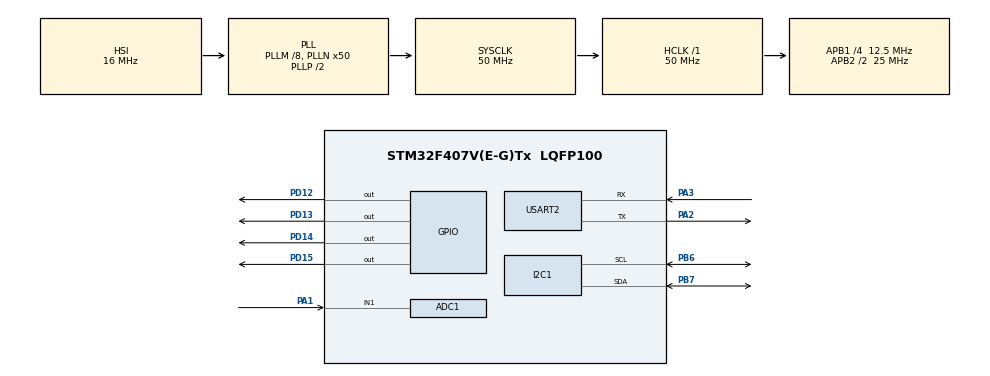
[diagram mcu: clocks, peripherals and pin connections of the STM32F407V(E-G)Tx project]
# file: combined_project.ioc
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ADC1.Channel-0\#ChannelRegularConversion=ADC_CHANNEL_1
ADC1.NbrOfConversionFlag=1
ADC1.Rank-0\#ChannelRegularConversion=1
ADC1.SamplingTime-0\#ChannelRegularConversion=ADC_SAMPLETIME_3CYCLES
ADC1.master=1
FREERTOS.INCLUDE_vTaskDelayUntil=1
FREERTOS.Tasks01=defaultTask,-3,128,StartDefaultTask,Default,NULL,Dynamic,NULL,NULL
FREERTOS.configUSE_NEWLIB_REENTRANT=1
Mcu.Family=STM32F4
Mcu.Name=STM32F407V(E-G)Tx
Mcu.Package=LQFP100
NVIC.PriorityGroup=NVIC_PRIORITYGROUP_4
NVIC.TIM1_UP_TIM10_IRQn=true\:15\:0\:false\:false\:true\:false\:false\:true\:true
NVIC.TimeBase=TIM1_UP_TIM10_IRQn
NVIC.TimeBaseIP=TIM1
PA1.Signal=ADCx_IN1
PA13.Mode=Serial_Wire
PA13.Signal=SYS_JTMS-SWDIO
PA14.Mode=Serial_Wire
PA14.Signal=SYS_JTCK-SWCLK
PA2.Mode=Asynchronous
PA2.Signal=USART2_TX
PA3.Mode=Asynchronous
PA3.Signal=USART2_RX
PB6.Mode=I2C
PB6.Signal=I2C1_SCL
PB7.Mode=I2C
PB7.Signal=I2C1_SDA
PD12.Signal=GPIO_Output
PD13.Signal=GPIO_Output
PD14.Signal=GPIO_Output
PD15.Signal=GPIO_Output
ProjectManager.HeapSize=0x200
ProjectManager.StackSize=0x400
ProjectManager.TargetToolchain=STM32CubeIDE
RCC.48MHZClocksFreq_Value=14285714.285714285
RCC.AHBFreq_Value=50000000
RCC.APB1CLKDivider=RCC_HCLK_DIV4
RCC.APB1Freq_Value=12500000
RCC.APB1TimFreq_Value=25000000
RCC.APB2CLKDivider=RCC_HCLK_DIV2
RCC.APB2Freq_Value=25000000
RCC.APB2TimFreq_Value=50000000
RCC.CortexFreq_Value=50000000
RCC.HCLKFreq_Value=50000000
RCC.HSE_VALUE=8000000
RCC.HSI_VALUE=16000000
RCC.LSE_VALUE=32768
RCC.PLLM=8
RCC.PLLN=50
RCC.PLLQ=7
RCC.SYSCLKFreq_VALUE=50000000
RCC.SYSCLKSource=RCC_SYSCLKSOURCE_PLLCLK
RCC.VCOOutputFreq_Value=100000000
SH.ADCx_IN1.0=ADC1_IN1,IN1
USART2.VirtualMode=VM_ASYNC
VP_FREERTOS_VS_CMSIS_V1.Mode=CMSIS_V1
VP_SYS_VS_tim1.Mode=TIM1
board=STM32F407G-DISC1

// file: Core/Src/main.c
/* USER CODE BEGIN Header */
/**
  ******************************************************************************
  * @file           : main.c
  * @brief          : Main program body
  ******************************************************************************
  * @attention
  *
  * Copyright (c) 2026 STMicroelectronics.
  * All rights reserved.
  *
  * This software is licensed under terms that can be found in the LICENSE file
  * in the root directory of this software component.
  * If no LICENSE file comes with this software, it is provided AS-IS.
  *
  ******************************************************************************
  */
/* USER CODE END Header */
#include "main.h"
#include "cmsis_os.h"

// This is the project Last Code

/* USER CODE BEGIN Includes */
#include<stdio.h>
#include<stdlib.h>
#include<string.h>
/* USER CODE END Includes */

/* USER CODE BEGIN PTD */
//main variables declaration
typedef enum {
    SENSOR_MPU6050 = 0,
    SENSOR_HEART   = 1
}sensor_type_t;

typedef struct {
    sensor_type_t type;
    union {
    	struct {
            float ax;
            float ay;
            float az;
        } mpu;

        uint16_t heart;
    } payload;
}queue_data_t;

uint16_t data_buffer[20];
/* USER CODE END PTD */

/* USER CODE BEGIN PM */
#define MPU6050_ADDR   (0x68 << 1)   // 7-bit address 0x68 shifted for HAL (8-bit)
#define WHO_AM_I_REG   0x75
#define PWR_MGMT_1     0x6B
#define ACCEL_XOUT_H   0x3B
/* USER CODE END PM */

ADC_HandleTypeDef hadc1;

I2C_HandleTypeDef hi2c1;

UART_HandleTypeDef huart2;

osThreadId defaultTaskHandle;
/* USER CODE BEGIN PV */

xQueueHandle queue1;

/* USER CODE END PV */

void SystemClock_Config(void);
static void MX_GPIO_Init(void);
static void MX_I2C1_Init(void);
static void MX_ADC1_Init(void);
static void MX_USART2_UART_Init(void);
void StartDefaultTask(void const * argument);

/* USER CODE BEGIN PFP */

volatile uint8_t flag = 0;

/* USER CODE END PFP */

/* USER CODE BEGIN 0 */
void MPU6050_Init(void)
{
    uint8_t check = 0;
    uint8_t data = 0;

    // Read WHO_AM_I (default = 0x68)
    if (HAL_I2C_Mem_Read(&hi2c1, MPU6050_ADDR, WHO_AM_I_REG, I2C_MEMADD_SIZE_8BIT, &check, 1, 1000) != HAL_OK) {
    // I2C read failed — optional: report error via UART if available
        return;
    }

    if (check == 0x68)
    {
        // Wake up the MPU6050 (clear sleep bit)
        data = 0x00;
        HAL_I2C_Mem_Write(&hi2c1, MPU6050_ADDR, PWR_MGMT_1, I2C_MEMADD_SIZE_8BIT, &data, 1, 100);

        // Sample Rate = Gyro output rate / (1 + SMPLRT_DIV)
        data = 0x07;
        HAL_I2C_Mem_Write(&hi2c1, MPU6050_ADDR, 0x19, I2C_MEMADD_SIZE_8BIT, &data, 1, 100);

        // Configure DLPF
        data = 0x00;
        HAL_I2C_Mem_Write(&hi2c1, MPU6050_ADDR, 0x1A, I2C_MEMADD_SIZE_8BIT, &data, 1, 100);

        // Configure Gyroscope Range = ±250 °/s
        data = 0x00;
        HAL_I2C_Mem_Write(&hi2c1, MPU6050_ADDR, 0x1B, I2C_MEMADD_SIZE_8BIT, &data, 1, 100);

        // Configure Accelerometer Range = ±2g
        data = 0x00;
        HAL_I2C_Mem_Write(&hi2c1, MPU6050_ADDR, 0x1C, I2C_MEMADD_SIZE_8BIT, &data, 1, 100);
    } else {
        // Optional: handle unexpected WHO_AM_I
    }
}

HAL_StatusTypeDef MPU6050_Ready(void)
{
    // Read 14 consecutive bytes starting from ACCEL_XOUT_H
    return HAL_I2C_Mem_Read(&hi2c1, MPU6050_ADDR, ACCEL_XOUT_H, I2C_MEMADD_SIZE_8BIT, (uint8_t*)data_buffer, 14, 1000);
}

//HAL_StatusTypeDef MPU6050_Ready(void)
//{
//	HAL_GPIO_TogglePin(GPIOD, GPIO_PIN_12);
//    return HAL_OK;
//}

void MPU6050_Task(void *data1){
	HAL_GPIO_TogglePin(GPIOD, GPIO_PIN_13);
	queue_data_t qdata;
	    int16_t ax, ay, az;

	    while (1)
	    {
	        if (MPU6050_Ready() == HAL_OK)
	        {
	        	HAL_GPIO_TogglePin(GPIOD, GPIO_PIN_14);
	            ax = (int16_t)((data_buffer[0] << 8) | data_buffer[1]);
	            ay = (int16_t)((data_buffer[2] << 8) | data_buffer[3]);
	            az = (int16_t)((data_buffer[4] << 8) | data_buffer[5]);

	            qdata.type = SENSOR_MPU6050;

	            qdata.payload.mpu.ax = ((ax / 16384.0f)-0.25);
	            qdata.payload.mpu.ay = ((ay / 16384.0f)-0.25);
	            qdata.payload.mpu.az = az / 16384.0f;
	            //flag = 1;

	            	if((qdata.payload.mpu.ax < 0 && qdata.payload.mpu.az) && qdata.payload.mpu.ay < 0)
	            	{
	            		flag = 1;
	            	}
	            xQueueSendToBack(queue1, &qdata, portMAX_DELAY);
	        }
	        vTaskDelay(pdMS_TO_TICKS(1000));
	    }
}

void HeartRate_Task(void *data1){
		HAL_GPIO_TogglePin(GPIOD, GPIO_PIN_12);
	    queue_data_t qdata;
	    uint32_t adc_value;

	    while (1)
	    {
	    	HAL_GPIO_TogglePin(GPIOD, GPIO_PIN_15);
	        HAL_ADC_Start(&hadc1);
	        HAL_ADC_PollForConversion(&hadc1, HAL_MAX_DELAY);
	        adc_value = HAL_ADC_GetValue(&hadc1);
	        HAL_ADC_Stop(&hadc1);

	        qdata.type = SENSOR_HEART;
	        qdata.payload.heart = (uint16_t)adc_value;

	        xQueueSendToBack(queue1, &qdata, portMAX_DELAY);

	        vTaskDelay(pdMS_TO_TICKS(1000));
	    }
}

void UART(void *data1)
{
//	HAL_GPIO_TogglePin(GPIOD, GPIO_PIN_12);

	queue_data_t rxData;
	    char msg[50];
	    while (1)
	    {
	        if (xQueueReceive(queue1, &rxData, portMAX_DELAY) == pdPASS)
	        {
	            if (rxData.type == SENSOR_MPU6050)
	            {
	            	if(flag == 1){
//	            		(	Alert!!  )
	            		snprintf(msg, sizeof(msg)," AX=%.2f AY=%.2f AZ=%.2f\r\n",
	            				rxData.payload.mpu.ax,
								rxData.payload.mpu.ay,
								rxData.payload.mpu.az);
	            	}
	            	else
	            	{
	            		strcpy(msg,"safe\n\r");
	            		flag = 0;
	            	}
	            }
	            else if (rxData.type == SENSOR_HEART)
	            {
	                snprintf(msg, sizeof(msg),"Heart Rate ADC=%d\r\n",rxData.payload.heart);
	            }

	            HAL_UART_Transmit(&huart2,(uint8_t *)msg,strlen(msg),HAL_MAX_DELAY);
	        }
	    }
}
/* USER CODE END 0 */

int main(void)
{

  /* MCU Configuration--------------------------------------------------------*/

  /* Reset of all peripherals, Initializes the Flash interface and the Systick. */
  HAL_Init();

  /* Configure the system clock */
  SystemClock_Config();

  /* Initialize all configured peripherals */
  MX_GPIO_Init();
  MX_I2C1_Init();
  MX_ADC1_Init();
  MX_USART2_UART_Init();
  /* USER CODE BEGIN 2 */
  MPU6050_Init();
  /* USER CODE END 2 */

  /* USER CODE BEGIN RTOS_QUEUES */
  /* add queues, ... */

  queue1 = xQueueCreate(5,sizeof(queue_data_t));

  /* USER CODE END RTOS_QUEUES */

  /* Create the thread(s) */
  /* definition and creation of defaultTask */
  osThreadDef(defaultTask, StartDefaultTask, osPriorityIdle, 0, 128);
  defaultTaskHandle = osThreadCreate(osThread(defaultTask), NULL);

  /* USER CODE BEGIN RTOS_THREADS */
  /* add threads, ... */
  xTaskCreate(MPU6050_Task, "MPU6050_Task1", 256, NULL, 3, NULL);
  xTaskCreate(HeartRate_Task, "HeartRate_Task2", 256, NULL, 2, NULL);
  xTaskCreate(UART, "UART_Task3", 256, NULL, 1, NULL);
  /* USER CODE END RTOS_THREADS */

  /* Start scheduler */
  osKernelStart();

  /* We should never get here as control is now taken by the scheduler */

  /* Infinite loop */
  while (1)
  {

  }
}

void SystemClock_Config(void)
{
  RCC_OscInitTypeDef RCC_OscInitStruct = {0};
  RCC_ClkInitTypeDef RCC_ClkInitStruct = {0};

  /** Configure the main internal regulator output voltage
  */
  __HAL_RCC_PWR_CLK_ENABLE();
  __HAL_PWR_VOLTAGESCALING_CONFIG(PWR_REGULATOR_VOLTAGE_SCALE1);

  /** Initializes the RCC Oscillators according to the specified parameters
  * in the RCC_OscInitTypeDef structure.
  */
  RCC_OscInitStruct.OscillatorType = RCC_OSCILLATORTYPE_HSI;
  RCC_OscInitStruct.HSIState = RCC_HSI_ON;
  RCC_OscInitStruct.HSICalibrationValue = RCC_HSICALIBRATION_DEFAULT;
  RCC_OscInitStruct.PLL.PLLState = RCC_PLL_ON;
  RCC_OscInitStruct.PLL.PLLSource = RCC_PLLSOURCE_HSI;
  RCC_OscInitStruct.PLL.PLLM = 8;
  RCC_OscInitStruct.PLL.PLLN = 50;
  RCC_OscInitStruct.PLL.PLLP = RCC_PLLP_DIV2;
  RCC_OscInitStruct.PLL.PLLQ = 7;
  if (HAL_RCC_OscConfig(&RCC_OscInitStruct) != HAL_OK)
  {
    Error_Handler();
  }

  /** Initializes the CPU, AHB and APB buses clocks
  */
  RCC_ClkInitStruct.ClockType = RCC_CLOCKTYPE_HCLK|RCC_CLOCKTYPE_SYSCLK
                              |RCC_CLOCKTYPE_PCLK1|RCC_CLOCKTYPE_PCLK2;
  RCC_ClkInitStruct.SYSCLKSource = RCC_SYSCLKSOURCE_PLLCLK;
  RCC_ClkInitStruct.AHBCLKDivider = RCC_SYSCLK_DIV1;
  RCC_ClkInitStruct.APB1CLKDivider = RCC_HCLK_DIV4;
  RCC_ClkInitStruct.APB2CLKDivider = RCC_HCLK_DIV2;

  if (HAL_RCC_ClockConfig(&RCC_ClkInitStruct, FLASH_LATENCY_1) != HAL_OK)
  {
    Error_Handler();
  }
}

static void MX_ADC1_Init(void)
{

  ADC_ChannelConfTypeDef sConfig = {0};

  /** Configure the global features of the ADC (Clock, Resolution, Data Alignment and number of conversion)
  */
  hadc1.Instance = ADC1;
  hadc1.Init.ClockPrescaler = ADC_CLOCK_SYNC_PCLK_DIV2;
  hadc1.Init.Resolution = ADC_RESOLUTION_12B;
  hadc1.Init.ScanConvMode = DISABLE;
  hadc1.Init.ContinuousConvMode = DISABLE;
  hadc1.Init.DiscontinuousConvMode = DISABLE;
  hadc1.Init.ExternalTrigConvEdge = ADC_EXTERNALTRIGCONVEDGE_NONE;
  hadc1.Init.ExternalTrigConv = ADC_SOFTWARE_START;
  hadc1.Init.DataAlign = ADC_DATAALIGN_RIGHT;
  hadc1.Init.NbrOfConversion = 1;
  hadc1.Init.DMAContinuousRequests = DISABLE;
  hadc1.Init.EOCSelection = ADC_EOC_SINGLE_CONV;
  if (HAL_ADC_Init(&hadc1) != HAL_OK)
  {
    Error_Handler();
  }

  /** Configure for the selected ADC regular channel its corresponding rank in the sequencer and its sample time.
  */
  sConfig.Channel = ADC_CHANNEL_1;
  sConfig.Rank = 1;
  sConfig.SamplingTime = ADC_SAMPLETIME_3CYCLES;
  if (HAL_ADC_ConfigChannel(&hadc1, &sConfig) != HAL_OK)
  {
    Error_Handler();
  }

}

static void MX_I2C1_Init(void)
{

  hi2c1.Instance = I2C1;
  hi2c1.Init.ClockSpeed = 100000;
  hi2c1.Init.DutyCycle = I2C_DUTYCYCLE_2;
  hi2c1.Init.OwnAddress1 = 0;
  hi2c1.Init.AddressingMode = I2C_ADDRESSINGMODE_7BIT;
  hi2c1.Init.DualAddressMode = I2C_DUALADDRESS_DISABLE;
  hi2c1.Init.OwnAddress2 = 0;
  hi2c1.Init.GeneralCallMode = I2C_GENERALCALL_DISABLE;
  hi2c1.Init.NoStretchMode = I2C_NOSTRETCH_DISABLE;
  if (HAL_I2C_Init(&hi2c1) != HAL_OK)
  {
    Error_Handler();
  }

}

static void MX_USART2_UART_Init(void)
{

  huart2.Instance = USART2;
  huart2.Init.BaudRate = 115200;
  huart2.Init.WordLength = UART_WORDLENGTH_8B;
  huart2.Init.StopBits = UART_STOPBITS_1;
  huart2.Init.Parity = UART_PARITY_NONE;
  huart2.Init.Mode = UART_MODE_TX_RX;
  huart2.Init.HwFlowCtl = UART_HWCONTROL_NONE;
  huart2.Init.OverSampling = UART_OVERSAMPLING_16;
  if (HAL_UART_Init(&huart2) != HAL_OK)
  {
    Error_Handler();
  }

}

static void MX_GPIO_Init(void)
{
  GPIO_InitTypeDef GPIO_InitStruct = {0};

  /* GPIO Ports Clock Enable */
  __HAL_RCC_GPIOA_CLK_ENABLE();
  __HAL_RCC_GPIOD_CLK_ENABLE();
  __HAL_RCC_GPIOB_CLK_ENABLE();

  /*Configure GPIO pin Output Level */
  HAL_GPIO_WritePin(GPIOD, GPIO_PIN_12|GPIO_PIN_13|GPIO_PIN_14|GPIO_PIN_15, GPIO_PIN_RESET);

  /*Configure GPIO pins : PD12 PD13 PD14 PD15 */
  GPIO_InitStruct.Pin = GPIO_PIN_12|GPIO_PIN_13|GPIO_PIN_14|GPIO_PIN_15;
  GPIO_InitStruct.Mode = GPIO_MODE_OUTPUT_PP;
  GPIO_InitStruct.Pull = GPIO_NOPULL;
  GPIO_InitStruct.Speed = GPIO_SPEED_FREQ_LOW;
  HAL_GPIO_Init(GPIOD, &GPIO_InitStruct);

}

void StartDefaultTask(void const * argument)
{
  for(;;)
  {
    osDelay(1);
  }
}

void HAL_TIM_PeriodElapsedCallback(TIM_HandleTypeDef *htim)
{
  if (htim->Instance == TIM1)
  {
    HAL_IncTick();
  }
}

void Error_Handler(void)
{
  __disable_irq();
  while (1)
  {
  }
}
